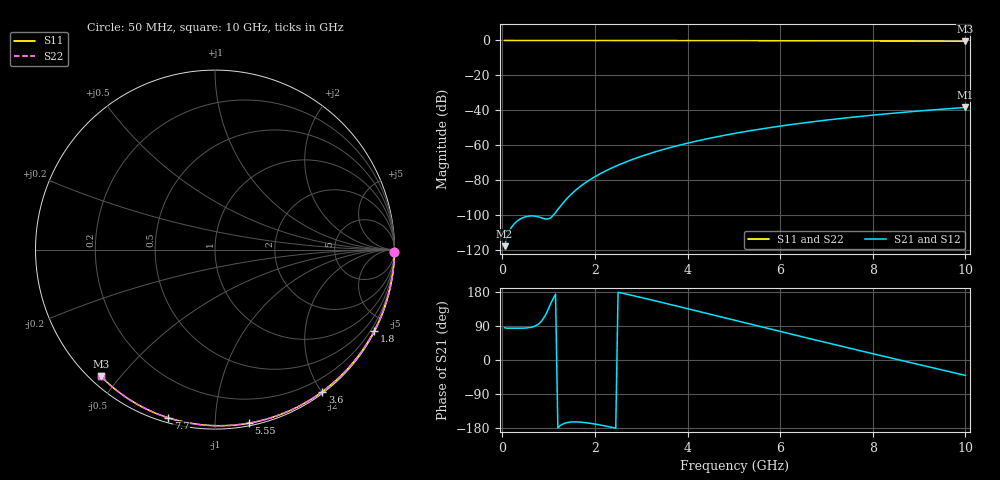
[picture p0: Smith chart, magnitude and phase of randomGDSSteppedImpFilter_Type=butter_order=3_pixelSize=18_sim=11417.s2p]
! freq	dB(S11)	phase(S11)	dB(S12)	phase(S12)
!  dB(S21)	phase(S21)	dB(S22)	phase(S22)
!S-par simulation data
#  GHz  S  DB  R 50
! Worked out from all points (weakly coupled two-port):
!   200 points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, 50 MHz to 10 GHz, reference 50 ohm
!   highest |S21| = -38.33 dB at 10 GHz (marker M1); lowest = -117.7 dB at 50 MHz (marker M2)
!   lowest |S11| = -0.4 dB at 10 GHz (marker M3), VSWR 38.86, Z = 1.54 - j22.2 ohm
!   |S11| at or under -10 dB: nowhere
!   |S22| runs from -0.4 to 0.0 dB; largest |S21 - S12| = 0
!   S11 on the Smith chart (normalised r, x): 50 MHz: open; 1.8 GHz: 0.04, -4.16; 3.6 GHz: 0.02, -2.01; 5.55 GHz: 0.02, -1.21; 7.7 GHz: 0.02, -0.76; 10 GHz: 0.03, -0.44
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0.05  -0.00 -0.8  -117.68 85.1  -117.68 85.1  -0.00 -0.8
0.9  -0.02 -13.7  -101.96 112.1  -101.96 112.1  -0.02 -13.7
1.75  -0.03 -26.3  -82.22 -164.6  -82.22 -164.6  -0.03 -26.3
1.8  -0.03 -27.1  -81.28 -165.4  -81.28 -165.4  -0.03 -27.1
1.85  -0.04 -27.8  -80.39 -166.2  -80.39 -166.2  -0.04 -27.8
1.9  -0.04 -28.5  -79.54 -167.0  -79.54 -167.0  -0.04 -28.5
2.05  -0.04 -30.7  -77.17 -170.1  -77.17 -170.1  -0.04 -30.7
2.25  -0.04 -33.7  -74.37 -174.7  -74.37 -174.7  -0.04 -33.7
2.45  -0.05 -36.6  -71.90 -179.8  -71.90 -179.8  -0.05 -36.6
2.65  -0.05 -39.5  -69.68 174.8  -69.68 174.8  -0.05 -39.5
3  -0.06 -44.5  -66.28 164.9  -66.28 164.9  -0.06 -44.5
3.4  -0.07 -50.1  -62.94 153.3  -62.94 153.3  -0.07 -50.1
3.6  -0.07 -52.9  -61.45 147.3  -61.45 147.3  -0.07 -52.9
4.3  -0.09 -62.5  -56.94 126.4  -56.94 126.4  -0.09 -62.5
5.05  -0.11 -72.5  -53.02 103.9  -53.02 103.9  -0.11 -72.5
5.55  -0.13 -79.0  -50.79 88.9  -50.79 88.9  -0.13 -79.0
6.1  -0.15 -86.0  -48.61 72.5  -48.61 72.5  -0.15 -86.0
6.7  -0.18 -93.5  -46.51 54.7  -46.51 54.7  -0.18 -93.5
7.7  -0.24 -105.5  -43.52 25.3  -43.52 25.3  -0.24 -105.5
8.35  -0.29 -113.1  -41.84 6.5  -41.84 6.5  -0.29 -113.1
9.15  -0.36 -122.4  -40.02 -16.4  -40.02 -16.4  -0.36 -122.4
10  -0.45 -132.0  -38.33 -40.6  -38.33 -40.6  -0.45 -132.0
